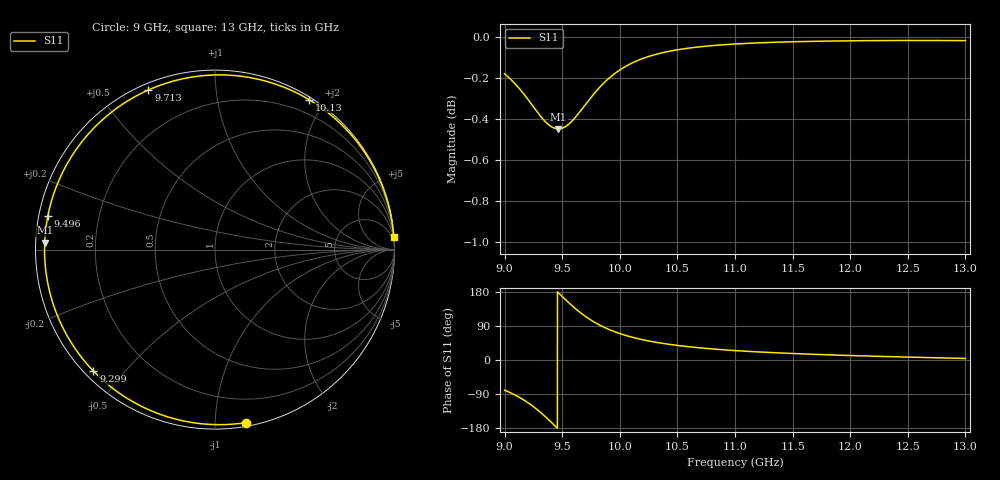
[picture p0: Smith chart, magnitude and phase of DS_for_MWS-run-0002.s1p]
! TOUCHSTONE file generated by CST DESIGN STUDIO
! Date and time: Wed Feb  5 13:18:11 2025
! Project name: C:\Work\MatlabApps\UnitCellOptimizationMatlab\CST\unitcell.cst
! Tree item: Tasks\Sweep1\SPara1\S-Parameters
! Header version: 2024
! Port assignment regex: !\s*Touchstone port\s*([0-9]+)\s*=\s*(CST MWS port|CST DES external port|CST DES block port)\s*(.+)\s* \(\"(.*)\"\)(\s*mode\s*([0-9]+))?.*
! Touchstone port assignment:
! Touchstone port 1 = CST DES external port 1 ("")
# GHz S MA R 50
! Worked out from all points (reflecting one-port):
!   4001 points, 9 GHz to 13 GHz, reference 50 ohm
!   lowest |S11| = -0.4 dB at 9.466 GHz (marker M1), VSWR 38.81, Z = 1.29 + j1.02 ohm
!   phase of S11 starts at -80 deg and turns -276 deg over the sweep
!   S11 on the Smith chart (normalised r, x): 9 GHz: 0.03, -1.20; 9.299 GHz: 0.03, -0.41; 9.496 GHz: 0.03, +0.10; 9.713 GHz: 0.03, +0.67; 10.13 GHz: 0.03, +1.81; 13 GHz: 1, +28
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9  0.9794 -79.7
9.073  0.9752 -89.7
9.169  0.9683 -106.0
9.236  0.9628 -119.9
9.299  0.9575 -135.0
9.343  0.9543 -146.6
9.389  0.9516 -159.6
9.428  0.9502 -171.0
9.466  0.9498 177.7
9.496  0.95 168.7
9.5  0.9501 167.6
9.551  0.952 152.8
9.609  0.9556 137.0
9.66  0.9594 124.4
9.713  0.9637 112.6
9.77  0.9682 101.5
9.833  0.9727 90.9
9.915  0.9776 79.4
10  0.9816 69.8
10.135  0.9863 57.9
10.3  0.99 47.5
10.5  0.9927 38.4
10.722  0.9946 31.3
11  0.996 24.9
11.5  0.9972 17.1
12  0.9978 11.8
12.5  0.9979 7.7
13  0.9979 4.1
